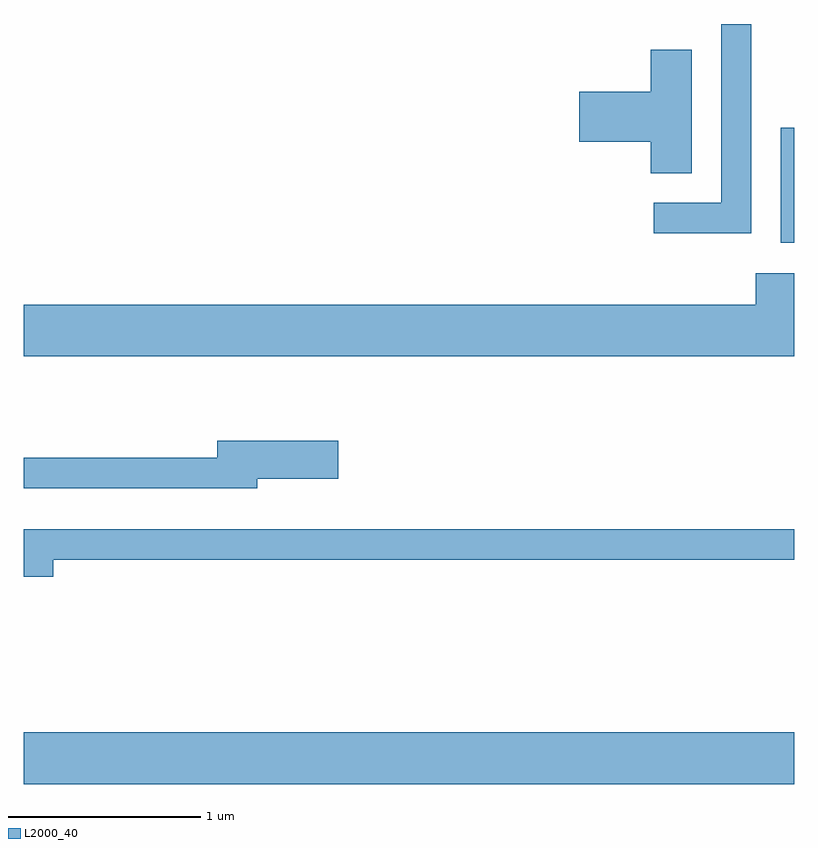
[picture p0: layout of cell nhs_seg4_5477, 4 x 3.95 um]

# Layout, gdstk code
import gdstk
lib = gdstk.Library(unit=1e-6, precision=1e-09)
def R(c, l, rs):  # rectangles x0, y0, x1, y1
    for r in rs: c.add(gdstk.rectangle(r[:2], r[2:], *l))
def P(c, l, *ps):  # polygons
    for p in ps: c.add(gdstk.Polygon(p, *l))
L2000_40 = (2000, 40)

nhs_seg4_5477 = lib.new_cell('nhs_seg4_5477')
R(nhs_seg4_5477, L2000_40, [(345.611,1328.036,349.611,1328.304), (349.541,1330.846,349.611,1331.444)])
P(nhs_seg4_5477, L2000_40, [(349.389,1331.982),(349.231,1331.982),(349.231,1331.054),(348.883,1331.054),(348.883,1330.896),(349.389,1330.896)],
  [(349.079,1331.849),(348.866,1331.849),(348.866,1331.629),(348.496,1331.629),(348.496,1331.371),(348.866,1331.371),(348.866,1331.206),(349.079,1331.206)],
  [(349.611,1330.689),(349.411,1330.689),(349.411,1330.524),(345.611,1330.524),(345.611,1330.256),(349.611,1330.256)],
  [(346.824,1329.621),(347.244,1329.621),(347.244,1329.819),(346.616,1329.819),(346.616,1329.729),(345.611,1329.729),(345.611,1329.571),(346.824,1329.571)],
  [(345.764,1329.201),(349.611,1329.201),(349.611,1329.359),(345.611,1329.359),(345.611,1329.111),(345.764,1329.111)])

lib.write_gds('nhs_seg4_5477.gds')
